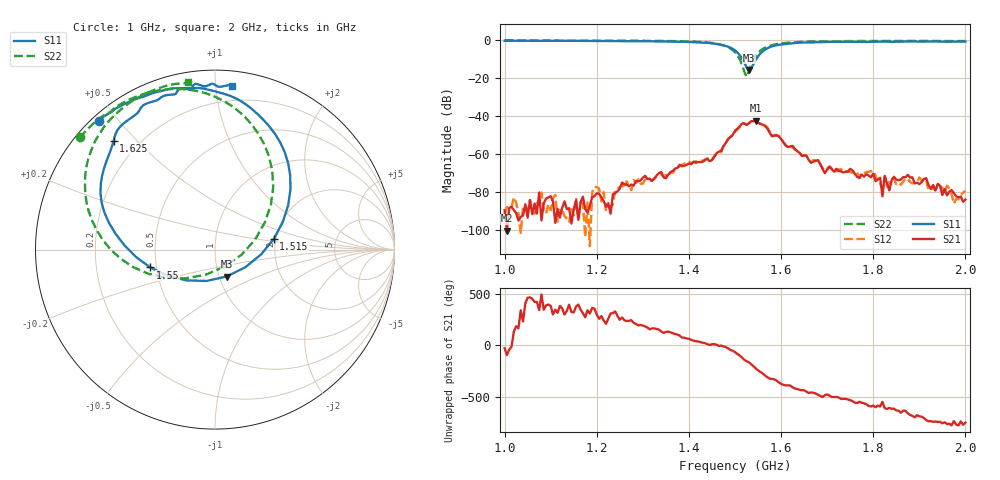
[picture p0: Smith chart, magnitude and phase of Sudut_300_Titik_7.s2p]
# Hz S RI R 50
! CMT, C1220, 16058040, 17.2.0/1
! Date: 14/08/2018 12:16:39
! Data: Format (Calibration Info)
! Freq  S11: Re/Im (F2)  S21: Re/Im (F2)  S12: Re/Im (F2)  S22: Re/Im (F2)
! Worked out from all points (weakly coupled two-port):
!   201 points, 1 GHz to 2 GHz, reference 50 ohm
!   highest |S21| = -42.46 dB at 1.545 GHz (marker M1); lowest = -100.4 dB at 1.005 GHz (marker M2)
!   lowest |S11| = -15.7 dB at 1.53 GHz (marker M3), VSWR 1.39, Z = 54.3 - j16.7 ohm
!   |S11| at or under -10 dB: 1.516 GHz to 1.546 GHz (30.04 MHz wide, 1.96 % of centre)
!   |S22| runs from -19.3 to -0.2 dB; largest |S21 - S12| = 0.00038
!   S11 on the Smith chart (normalised r, x): 1 GHz: 0.02, +0.44; 1.515 GHz: 1.95, +0.26; 1.55 GHz: 0.46, -0.11; 1.625 GHz: 0.11, +0.43; 2 GHz: 0.09, +1.11
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1e9  -0.6484 0.7145  2.94e-05 -1.55e-05  1.15e-05 2.31e-05  -0.7536 0.625
1.005e9  -0.6412 0.7197  -7.27e-07 -9.56e-06  2.67e-05 -3.02e-05  -0.7498 0.629
1.17e9  -0.4804 0.8233  5.03e-05 -5.67e-05  4.78e-05 5.89e-06  -0.6166 0.7506
1.275e9  -0.3323 0.876  -6.79e-05 -0.000142  -7.96e-05 -8.05e-05  -0.5018 0.8235
1.335e9  -0.2224 0.8987  -0.000281 0.000145  -0.000229 0.000165  -0.4006 0.8655
1.45e9  0.1788 0.8041  0.000684 0.000129  0.000703 8.7e-05  0.0246 0.8401
1.5e9  0.4201 0.3324  0.00173 -0.00378  0.00162 -0.00353  0.3243 0.3489
1.515e9  0.3274 0.0592  -0.00286 -0.00565  -0.00272 -0.00575  0.2239 0.0562
1.53e9  0.0653 -0.1499  -0.00618 -0.00185  -0.0062 -0.00185  -0.0538 -0.1404
1.545e9  -0.2654 -0.1452  -0.00548 0.00517  -0.00555 0.00495  -0.3703 -0.135
1.55e9  -0.3605 -0.0997  -0.0031 0.00603  -0.00337 0.00582  -0.4562 -0.0973
1.625e9  -0.565 0.6053  0.00112 -0.0012  0.00109 -0.00109  -0.7015 0.5192
1.67e9  -0.4468 0.7482  -0.000106 -0.000629  -0.000124 -0.00068  -0.6262 0.672
1.695e9  -0.4108 0.7931  -0.000173 -0.000264  -0.000223 -0.000286  -0.5848 0.7232
1.8e9  -0.2082 0.8858  -0.000222 0.000209  -3.59e-05 0.000365  -0.4243 0.8493
1.815e9  -0.1877 0.8981  -0.00014 0.000192  -4.62e-05 0.000158  -0.4034 0.8609
1.82e9  -0.1773 0.8981  -7.66e-05 1.05e-05  4.29e-06 0.000124  -0.3965 0.8641
1.825e9  -0.1658 0.8963  -9.16e-05 0.000251  -6.61e-05 0.000246  -0.3899 0.8672
1.835e9  -0.1443 0.8911  -4.43e-05 0.000101  -5.66e-05 0.000181  -0.3765 0.8738
1.845e9  -0.1312 0.8921  -7.09e-05 0.000243  -3.38e-05 0.000225  -0.3629 0.8802
1.875e9  -0.1063 0.9233  0.000139 0.000248  0.000122 0.000187  -0.3206 0.8966
2e9  0.0956 0.9142  5.52e-05 -3.13e-05  6.55e-05 -8.73e-05  -0.1526 0.9329
